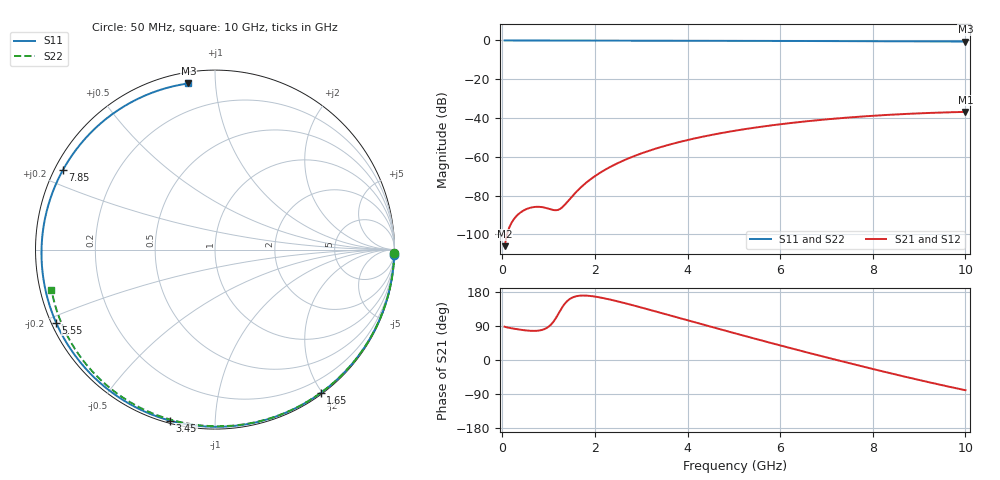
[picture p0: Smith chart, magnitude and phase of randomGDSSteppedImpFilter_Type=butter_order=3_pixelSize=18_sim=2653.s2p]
! freq	dB(S11)	phase(S11)	dB(S12)	phase(S12)
!  dB(S21)	phase(S21)	dB(S22)	phase(S22)
!S-par simulation data
#  GHz  S  DB  R 50
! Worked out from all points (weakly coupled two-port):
!   200 points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, 50 MHz to 10 GHz, reference 50 ohm
!   highest |S21| = -36.83 dB at 10 GHz (marker M1); lowest = -106.1 dB at 50 MHz (marker M2)
!   lowest |S11| = -0.6 dB at 10 GHz (marker M3), VSWR 31.12, Z = 2.77 + j42.6 ohm
!   |S11| at or under -10 dB: nowhere
!   |S22| runs from -0.6 to 0.0 dB; largest |S21 - S12| = 0
!   S11 on the Smith chart (normalised r, x): 50 MHz: 2, -71; 1.65 GHz: 0.02, -1.98; 3.45 GHz: 0.01, -0.77; 5.55 GHz: 0.01, -0.22; 7.85 GHz: 0.02, +0.25; 10 GHz: 0.06, +0.85
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0.05  -0.01 -1.6  -106.05 87.8  -106.05 87.8  -0.00 -0.9
0.4  -0.02 -13.3  -88.56 79.8  -88.56 79.8  -0.01 -7.6
0.75  -0.03 -24.9  -85.76 77.2  -85.76 77.2  -0.02 -14.3
1.5  -0.06 -48.9  -80.59 164.0  -80.59 164.0  -0.04 -28.5
1.55  -0.06 -50.5  -79.26 166.6  -79.26 166.6  -0.04 -29.4
1.65  -0.07 -53.6  -76.80 169.4  -76.80 169.4  -0.04 -31.3
1.75  -0.07 -56.6  -74.58 170.1  -74.58 170.1  -0.04 -33.1
2.05  -0.08 -65.7  -69.16 166.4  -69.16 166.4  -0.05 -38.6
2.45  -0.09 -77.4  -63.75 156.0  -63.75 156.0  -0.06 -45.9
2.9  -0.11 -90.0  -59.14 141.8  -59.14 141.8  -0.07 -54.0
3.4  -0.13 -103.4  -55.13 125.2  -55.13 125.2  -0.08 -62.7
3.45  -0.13 -104.7  -54.78 123.5  -54.78 123.5  -0.09 -63.6
4.25  -0.16 -124.8  -50.00 96.4  -50.00 96.4  -0.11 -77.2
5.05  -0.20 -143.9  -46.43 69.6  -46.43 69.6  -0.14 -90.3
5.55  -0.23 -155.3  -44.62 53.1  -44.62 53.1  -0.16 -98.3
6.15  -0.26 -168.9  -42.78 33.7  -42.78 33.7  -0.19 -107.7
6.7  -0.30 178.7  -41.37 16.2  -41.37 16.2  -0.23 -116.1
7.25  -0.34 166.3  -40.17 -0.9  -40.17 -0.9  -0.27 -124.5
7.85  -0.39 152.4  -39.08 -19.2  -39.08 -19.2  -0.32 -133.5
8.35  -0.43 140.6  -38.34 -34.1  -38.34 -34.1  -0.36 -141.0
9.2  -0.50 119.8  -37.40 -58.3  -37.40 -58.3  -0.45 -153.8
10  -0.56 99.1  -36.83 -79.7  -36.83 -79.7  -0.55 -166.2
